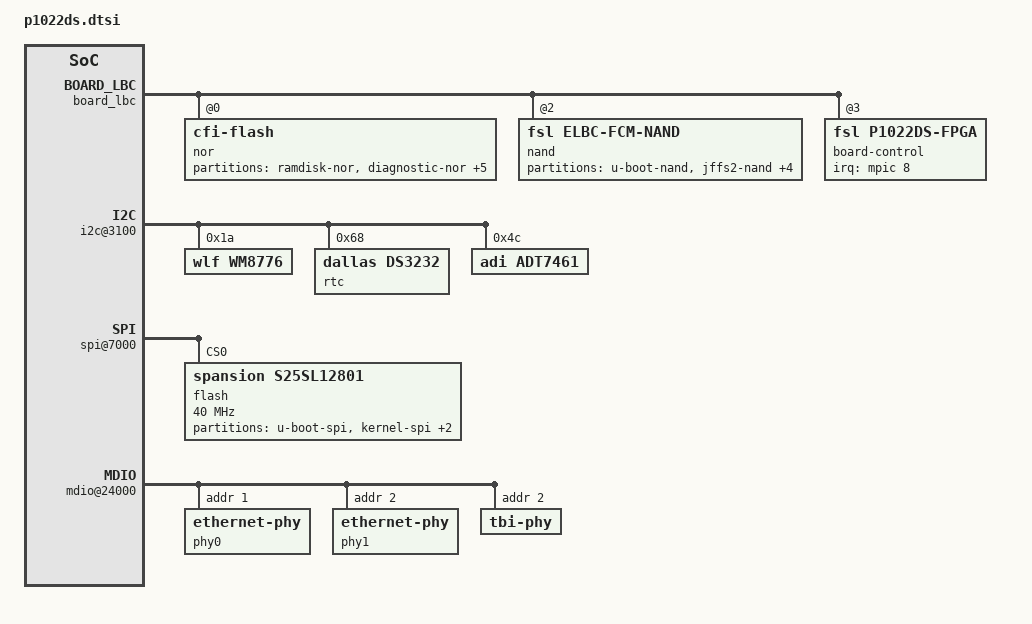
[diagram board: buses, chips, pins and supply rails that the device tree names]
/*
 * P1022 DS Device Tree Source stub (no addresses or top-level ranges)
 *
 * Copyright 2012 Freescale Semiconductor Inc.
 *
 * Redistribution and use in source and binary forms, with or without
 * modification, are permitted provided that the following conditions are met:
 *     * Redistributions of source code must retain the above copyright
 *       notice, this list of conditions and the following disclaimer.
 *     * Redistributions in binary form must reproduce the above copyright
 *       notice, this list of conditions and the following disclaimer in the
 *       documentation and/or other materials provided with the distribution.
 *     * Neither the name of Freescale Semiconductor nor the
 *       names of its contributors may be used to endorse or promote products
 *       derived from this software without specific prior written permission.
 *
 *
 * ALTERNATIVELY, this software may be distributed under the terms of the
 * GNU General Public License ("GPL") as published by the Free Software
 * Foundation, either version 2 of that License or (at your option) any
 * later version.
 *
 * THIS SOFTWARE IS PROVIDED BY Freescale Semiconductor "AS IS" AND ANY
 * EXPRESS OR IMPLIED WARRANTIES, INCLUDING, BUT NOT LIMITED TO, THE IMPLIED
 * WARRANTIES OF MERCHANTABILITY AND FITNESS FOR A PARTICULAR PURPOSE ARE
 * DISCLAIMED. IN NO EVENT SHALL Freescale Semiconductor BE LIABLE FOR ANY
 * DIRECT, INDIRECT, INCIDENTAL, SPECIAL, EXEMPLARY, OR CONSEQUENTIAL DAMAGES
 * (INCLUDING, BUT NOT LIMITED TO, PROCUREMENT OF SUBSTITUTE GOODS OR SERVICES;
 * LOSS OF USE, DATA, OR PROFITS; OR BUSINESS INTERRUPTION) HOWEVER CAUSED AND
 * ON ANY THEORY OF LIABILITY, WHETHER IN CONTRACT, STRICT LIABILITY, OR TORT
 * (INCLUDING NEGLIGENCE OR OTHERWISE) ARISING IN ANY WAY OUT OF THE USE OF THIS
 * SOFTWARE, EVEN IF ADVISED OF THE POSSIBILITY OF SUCH DAMAGE.
 */

&board_lbc {
	nor@0,0 {
		#address-cells = <1>;
		#size-cells = <1>;
		compatible = "cfi-flash";
		reg = <0x0 0x0 0x8000000>;
		bank-width = <2>;
		device-width = <1>;

		partition@0 {
			reg = <0x0 0x03000000>;
			label = "ramdisk-nor";
			read-only;
		};

		partition@3000000 {
			reg = <0x03000000 0x00e00000>;
			label = "diagnostic-nor";
			read-only;
		};

		partition@3e00000 {
			reg = <0x03e00000 0x00200000>;
			label = "dink-nor";
			read-only;
		};

		partition@4000000 {
			reg = <0x04000000 0x00400000>;
			label = "kernel-nor";
			read-only;
		};

		partition@4400000 {
			reg = <0x04400000 0x03b00000>;
			label = "jffs2-nor";
		};

		partition@7f00000 {
			reg = <0x07f00000 0x00080000>;
			label = "dtb-nor";
			read-only;
		};

		partition@7f80000 {
			reg = <0x07f80000 0x00080000>;
			label = "u-boot-nor";
			read-only;
		};
	};

	nand@2,0 {
		#address-cells = <1>;
		#size-cells = <1>;
		compatible = "fsl,elbc-fcm-nand";
		reg = <0x2 0x0 0x40000>;

		partition@0 {
			reg = <0x0 0x02000000>;
			label = "u-boot-nand";
			read-only;
		};

		partition@2000000 {
			reg = <0x02000000 0x10000000>;
			label = "jffs2-nand";
		};

		partition@12000000 {
			reg = <0x12000000 0x10000000>;
			label = "ramdisk-nand";
			read-only;
		};

		partition@22000000 {
			reg = <0x22000000 0x04000000>;
			label = "kernel-nand";
		};

		partition@26000000 {
			reg = <0x26000000 0x01000000>;
			label = "dtb-nand";
			read-only;
		};

		partition@27000000 {
			reg = <0x27000000 0x19000000>;
			label = "reserved-nand";
		};
	};

	board-control@3,0 {
		compatible = "fsl,p1022ds-fpga", "fsl,fpga-ngpixis";
		reg = <3 0 0x30>;
		interrupt-parent = <&mpic>;
		/*
		 * IRQ8 is generated if the "EVENT" switch is pressed
		 * and PX_CTL[EVESEL] is set to 00.
		 */
		interrupts = <8 0 0 0>;
	};
};

&board_soc {
	i2c@3100 {
		wm8776:codec@1a {
			compatible = "wlf,wm8776";
			reg = <0x1a>;
			/*
			 * clock-frequency will be set by U-Boot if
			 * the clock is enabled.
			 */
		};
		rtc@68 {
			compatible = "dallas,ds3232";
			reg = <0x68>;
			interrupts = <0x1 0x1 0 0>;
		};
		adt7461@4c {
			compatible = "adi,adt7461";
			reg = <0x4c>;
		};
	};

	spi@7000 {
		flash@0 {
			#address-cells = <1>;
			#size-cells = <1>;
			compatible = "spansion,s25sl12801";
			reg = <0>;
			spi-max-frequency = <40000000>; /* input clock */

			partition@0 {
				label = "u-boot-spi";
				reg = <0x00000000 0x00100000>;
				read-only;
			};
			partition@100000 {
				label = "kernel-spi";
				reg = <0x00100000 0x00500000>;
				read-only;
			};
			partition@600000 {
				label = "dtb-spi";
				reg = <0x00600000 0x00100000>;
				read-only;
			};
			partition@700000 {
				label = "file system-spi";
				reg = <0x00700000 0x00900000>;
			};
		};
	};

	ssi@15000 {
		fsl,mode = "i2s-slave";
		codec-handle = <&wm8776>;
		fsl,ssi-asynchronous;
	};

	usb@22000 {
		phy_type = "ulpi";
	};

	usb@23000 {
		status = "disabled";
	};

	mdio@24000 {
		phy0: ethernet-phy@0 {
			interrupts = <3 1 0 0>;
			reg = <0x1>;
		};
		phy1: ethernet-phy@1 {
			interrupts = <9 1 0 0>;
			reg = <0x2>;
		};
		tbi-phy@2 {
			device_type = "tbi-phy";
			reg = <0x2>;
		};
	};

	ptp_clock@b0e00 {
		compatible = "fsl,etsec-ptp";
		reg = <0xb0e00 0xb0>;
		interrupts = <68 2 0 0 69 2 0 0>;
		fsl,tclk-period	= <5>;
		fsl,tmr-prsc	= <2>;
		fsl,tmr-add	= <0xc01ebd3d>;
		fsl,tmr-fiper1	= <999999995>;
		fsl,tmr-fiper2	= <99990>;
		fsl,max-adj	= <266499999>;
	};

	ethernet@b0000 {
		phy-handle = <&phy0>;
		phy-connection-type = "rgmii-id";
	};

	ethernet@b1000 {
		phy-handle = <&phy1>;
		phy-connection-type = "rgmii-id";
	};
};
